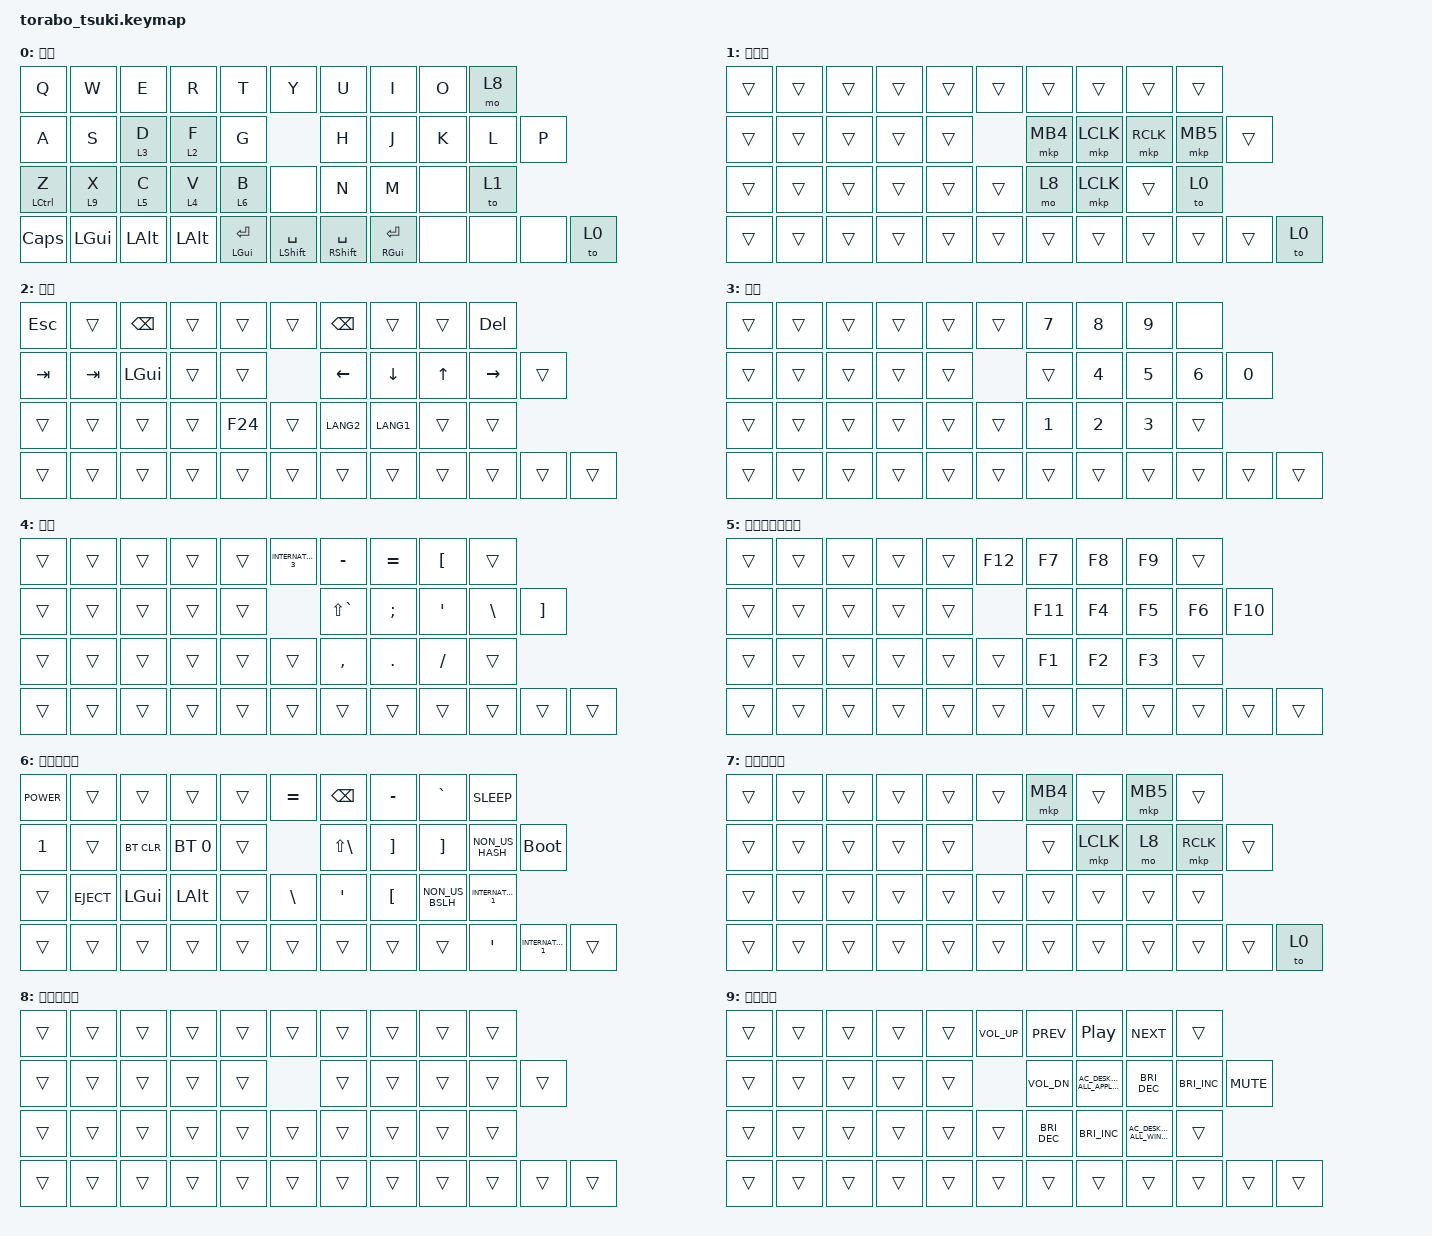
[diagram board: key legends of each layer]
#include <behaviors.dtsi>
#include <dt-bindings/zmk/keys.h>
#include <dt-bindings/zmk/bt.h>
#include <dt-bindings/zmk/pointing.h>
#include "torabo-pointing.dtsi"

/ {
    chosen {
        zmk,physical-layout = &physical_layout_s;
    };

    behaviors {
        // Vialのマクロと同じ順にCtrlを押し、Spaceを20ミリ秒だけ押して両方を解放する。
        ZMK_MACRO(ctrl_space,
            wait-ms = <0>;
            tap-ms = <20>;
            bindings = <&macro_press &kp LCTRL>,
                       <&macro_tap &kp SPACE>,
                       <&macro_release &kp LCTRL>;
        )

        // X長押しでメディア層。判定を短くする（ノード名 hold_tap の重複を避ける）。
        media_x: media_hold_tap {
            compatible = "zmk,behavior-hold-tap";
            #binding-cells = <2>;
            tapping-term-ms = <120>;
            quick-tap-ms = <200>;
            flavor = "hold-preferred";
            bindings = <&mo>, <&kp>;
        };
    };

    keymap {
        compatible = "zmk,keymap";

        // メーカーのS配列の順序に合わせ、各行を左手の外側から右手の外側へ並べる。
        layer_0 {
            display-name = "基本";
            bindings = <
                &kp Q  &kp W  &kp E  &kp R  &kp T    &kp Y  &kp U  &kp I  &kp O  &mo 8
                &kp A  &kp S  &lt 3 D  &lt 2 F  &kp G    &kp H  &kp J  &kp K  &kp L  &kp P
                &mt LCTRL Z  &media_x 9 X  &lt 5 C  &lt 4 V  &lt 6 B    &none  &kp N  &kp M  &none  &to 1
                &kp CAPSLOCK  &kp LGUI  &kp LALT  &kp LALT  &mt LGUI RET  &mt LSHFT SPACE    &mt RSHFT SPACE  &mt RGUI RET  &none  &none  &none  &to 0
            >;
        };

        // ボールで入るマウス層。H戻る J左クリック K右クリック L進む。N長押し相当は mo でスクロール。
        layer_1 {
            display-name = "マウス";
            bindings = <
                &trans  &trans  &trans  &trans  &trans    &trans  &trans  &trans  &trans  &trans
                &trans  &trans  &trans  &trans  &trans    &mkp MB4  &mkp LCLK  &mkp RCLK  &mkp MB5  &trans
                &trans  &trans  &trans  &trans  &trans    &trans  &mo 8  &mkp LCLK  &trans  &to 0
                &trans  &trans  &trans  &trans  &trans  &trans    &trans  &trans  &trans  &trans  &trans  &to 0
            >;
        };

        // 左手のFを保持してBを押すと、Macでキー一覧を開くF24を送る。
        // F+Nで英数(ABC)、F+Mでかな(あいう)。MacのLANG2/LANG1に対応する。
        // 一番右下は全レイヤーで &to 0（基本レイヤーへ強制復帰）。
        layer_2 {
            display-name = "移動";
            bindings = <
                &kp ESC  &trans  &kp BSPC  &trans  &trans    &trans  &kp BSPC  &trans  &trans  &kp DEL
                &kp TAB  &kp TAB  &kp LGUI  &trans  &trans    &kp LEFT  &kp DOWN  &kp UP  &kp RIGHT  &trans
                &trans  &trans  &trans  &trans  &kp F24    &trans  &kp LANG2  &kp LANG1  &trans  &trans
                &trans  &trans  &trans  &trans  &trans  &trans    &trans  &trans  &trans  &trans  &trans  &trans
            >;
        };

        layer_3 {
            display-name = "数字";
            bindings = <
                &trans  &trans  &trans  &trans  &trans    &trans  &kp N7  &kp N8  &kp N9  &none
                &trans  &trans  &trans  &trans  &trans    &trans  &kp N4  &kp N5  &kp N6  &kp N0
                &trans  &trans  &trans  &trans  &trans    &trans  &kp N1  &kp N2  &kp N3  &trans
                &trans  &trans  &trans  &trans  &trans  &trans    &trans  &trans  &trans  &trans  &trans  &trans
            >;
        };

        // Karabinerのv長押しと同じ記号配置（右手）。
        // Y¥ U- I= O[ / H~ J; K' L\ P] / N, M. (M右隣)/
        layer_4 {
            display-name = "記号";
            bindings = <
                &trans  &trans  &trans  &trans  &trans    &kp INTERNATIONAL_3  &kp MINUS  &kp EQUAL  &kp LBKT  &trans
                &trans  &trans  &trans  &trans  &trans    &kp LS(GRAVE)  &kp SEMI  &kp SQT  &kp BSLH  &kp RBKT
                &trans  &trans  &trans  &trans  &trans    &trans  &kp COMMA  &kp DOT  &kp FSLH  &trans
                &trans  &trans  &trans  &trans  &trans  &trans    &trans  &trans  &trans  &trans  &trans  &trans
            >;
        };

        // C長押し。標準の F1–F12（Karabinerでメディア化を防ぐ）。数字層と同じ位置。
        // Y=F12 U=F7 I=F8 O=F9 / H=F11 J=F4 K=F5 L=F6 P=F10 / N=F1 M=F2 (M右)=F3
        layer_5 {
            display-name = "ファンクション";
            bindings = <
                &trans  &trans  &trans  &trans  &trans    &kp F12  &kp F7  &kp F8  &kp F9  &trans
                &trans  &trans  &trans  &trans  &trans    &kp F11  &kp F4  &kp F5  &kp F6  &kp F10
                &trans  &trans  &trans  &trans  &trans    &trans  &kp F1  &kp F2  &kp F3  &trans
                &trans  &trans  &trans  &trans  &trans  &trans    &trans  &trans  &trans  &trans  &trans  &trans
            >;
        };

        // このZMK版が送信できるConsumerページの電源とスリープを使用する。
        // B長押し+Dで現在のBTプロファイル消去、B長押し+Fでプロファイル0選択（Mac再ペア用）。
        layer_6 {
            display-name = "記号・電源";
            bindings = <
                &kp C_POWER  &trans  &trans  &trans  &trans    &kp EQUAL  &kp BSPC  &kp MINUS  &kp GRAVE  &kp C_SLEEP
                &kp N1  &trans  &bt BT_CLR  &bt BT_SEL 0  &trans    &kp LS(BSLH)  &kp RBKT  &kp RBKT  &kp NON_US_HASH  &bootloader
                &trans  &kp C_EJECT  &kp LGUI  &kp LALT  &trans    &kp BSLH  &kp SQT  &kp LBKT  &kp NON_US_BSLH  &kp INTERNATIONAL_1
                &trans  &trans  &trans  &trans  &trans  &trans    &trans  &trans  &trans  &kp SQT  &kp INTERNATIONAL_1  &trans
            >;
        };

        layer_7 {
            display-name = "マウス固定";
            bindings = <
                &trans  &trans  &trans  &trans  &trans    &trans  &mkp MB4  &trans  &mkp MB5  &trans
                &trans  &trans  &trans  &trans  &trans    &trans  &mkp LCLK  &mo 8  &mkp RCLK  &trans
                &trans  &trans  &trans  &trans  &trans    &trans  &trans  &trans  &trans  &trans
                &trans  &trans  &trans  &trans  &trans  &trans    &trans  &trans  &trans  &trans  &trans  &to 0
            >;
        };

        // スクロールキーを保持している間だけこのレイヤーでボールをホイールとして扱う。
        drag_scroll {
            display-name = "スクロール";
            bindings = <
                &trans  &trans  &trans  &trans  &trans    &trans  &trans  &trans  &trans  &trans
                &trans  &trans  &trans  &trans  &trans    &trans  &trans  &trans  &trans  &trans
                &trans  &trans  &trans  &trans  &trans    &trans  &trans  &trans  &trans  &trans
                &trans  &trans  &trans  &trans  &trans  &trans    &trans  &trans  &trans  &trans  &trans  &trans
            >;
        };

        // X長押し。MacのFキー帯に相当するメディア／輝度／Mission Control。
        // Y音量+ U前 I再生 O次 / H音量- J Launchpad K輝度- L輝度+ Pミュート / N輝度- M輝度+ (M右)Mission Control
        media {
            display-name = "メディア";
            bindings = <
                &trans  &trans  &trans  &trans  &trans    &kp C_VOL_UP  &kp C_PREV  &kp C_PP  &kp C_NEXT  &trans
                &trans  &trans  &trans  &trans  &trans    &kp C_VOL_DN  &kp C_AC_DESKTOP_SHOW_ALL_APPLICATIONS  &kp C_BRI_DEC  &kp C_BRI_INC  &kp C_MUTE
                &trans  &trans  &trans  &trans  &trans    &trans  &kp C_BRI_DEC  &kp C_BRI_INC  &kp C_AC_DESKTOP_SHOW_ALL_WINDOWS  &trans
                &trans  &trans  &trans  &trans  &trans  &trans    &trans  &trans  &trans  &trans  &trans  &trans
            >;
        };
    };
};

// このキーマップはS配列専用なので、StudioでMやLを選択して割り当てがずれるのを防ぐ。
&physical_layout_m { status = "disabled"; };
&physical_layout_l { status = "disabled"; };

// QMK実機から読み取った255ミリ秒と、レイヤーおよび修飾キーそれぞれの割り込み判定を再現する。
&lt {
    tapping-term-ms = <255>;
    quick-tap-ms = <255>;
    flavor = "hold-preferred";
};

&mt {
    tapping-term-ms = <255>;
    quick-tap-ms = <255>;
    flavor = "balanced";
};
